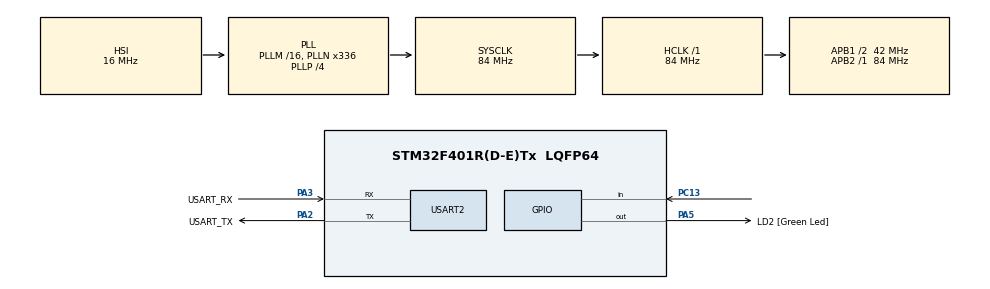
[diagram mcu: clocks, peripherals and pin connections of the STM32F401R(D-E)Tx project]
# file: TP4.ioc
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Mcu.Family=STM32F4
Mcu.Name=STM32F401R(D-E)Tx
Mcu.Package=LQFP64
NVIC.PriorityGroup=NVIC_PRIORITYGROUP_0
PA13.GPIO_Label=TMS
PA13.Mode=Serial_Wire
PA13.Signal=SYS_JTMS-SWDIO
PA14.GPIO_Label=TCK
PA14.Mode=Serial_Wire
PA14.Signal=SYS_JTCK-SWCLK
PA2.GPIO_Label=USART_TX
PA2.GPIO_Mode=GPIO_MODE_AF_PP
PA2.GPIO_PuPd=GPIO_NOPULL
PA2.GPIO_Speed=GPIO_SPEED_FREQ_LOW
PA2.Mode=Asynchronous
PA2.Signal=USART2_TX
PA3.GPIO_Label=USART_RX
PA3.GPIO_Mode=GPIO_MODE_AF_PP
PA3.GPIO_PuPd=GPIO_NOPULL
PA3.GPIO_Speed=GPIO_SPEED_FREQ_LOW
PA3.Mode=Asynchronous
PA3.Signal=USART2_RX
PA5.GPIO_Label=LD2 [Green Led]
PA5.GPIO_Mode=GPIO_MODE_OUTPUT_PP
PA5.GPIO_PuPd=GPIO_NOPULL
PA5.GPIO_Speed=GPIO_SPEED_FREQ_LOW
PA5.Signal=GPIO_Output
PB3.GPIO_Label=SWO
PB3.Signal=SYS_JTDO-SWO
PC13-ANTI_TAMP.Signal=GPIO_Input
PC14-OSC32_IN.Mode=LSE-External-Oscillator
PC14-OSC32_IN.Signal=RCC_OSC32_IN
PC15-OSC32_OUT.Mode=LSE-External-Oscillator
PC15-OSC32_OUT.Signal=RCC_OSC32_OUT
PH0\ -\ OSC_IN.Mode=HSE-External-Clock-Source
PH0\ -\ OSC_IN.Signal=RCC_OSC_IN
PH1\ -\ OSC_OUT.Mode=HSE-External-Clock-Source
PH1\ -\ OSC_OUT.Signal=RCC_OSC_OUT
ProjectManager.HeapSize=0x200
ProjectManager.StackSize=0x400
ProjectManager.TargetToolchain=STM32CubeIDE
RCC.48MHZClocksFreq_Value=48000000
RCC.AHBFreq_Value=84000000
RCC.APB1CLKDivider=RCC_HCLK_DIV2
RCC.APB1Freq_Value=42000000
RCC.APB1TimFreq_Value=84000000
RCC.APB2Freq_Value=84000000
RCC.APB2TimFreq_Value=84000000
RCC.CortexFreq_Value=84000000
RCC.HCLKFreq_Value=84000000
RCC.HSE_VALUE=8000000
RCC.HSI_VALUE=16000000
RCC.PLLN=336
RCC.PLLP=RCC_PLLP_DIV4
RCC.PLLQ=7
RCC.SYSCLKFreq_VALUE=84000000
RCC.SYSCLKSource=RCC_SYSCLKSOURCE_PLLCLK
RCC.VCOOutputFreq_Value=336000000
USART2.VirtualMode=VM_ASYNC
board=NUCLEO-F401RE

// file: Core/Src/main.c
/* USER CODE BEGIN Header */
/**
  ******************************************************************************
  * @file           : main.c
  * @brief          : Main program body
  ******************************************************************************
  * @attention
  *
  * Copyright (c) 2023 STMicroelectronics.
  * All rights reserved.
  *
  * This software is licensed under terms that can be found in the LICENSE file
  * in the root directory of this software component.
  * If no LICENSE file comes with this software, it is provided AS-IS.
  *
  ******************************************************************************
  */
/* USER CODE END Header */
#include "main.h"

/* USER CODE BEGIN Includes */
#include "API_delay.h"

/* USER CODE END Includes */

/* USER CODE BEGIN PTD */

// Nuevo tipo de dato incluyendo los posibles estados del boton
typedef enum
{
	BUTTON_FALLING,
	BUTTON_DOWN,
	BUTTON_RISING,
	BUTTON_UP
} debounceState_t;

/* USER CODE END PTD */

/* USER CODE BEGIN PD */

// Duracion en ms de encendido de cada led
#define DELAY_DUR 40

// Defino los PINes donde se conectan los LED 1 2 3
//#define PIN_1 GPIO_PIN_4
//#define PIN_2 GPIO_PIN_5
//#define PIN_3 GPIO_PIN_3

/* USER CODE END PD */

UART_HandleTypeDef huart2;

/* USER CODE BEGIN PV */

debounceState_t BUTTON_STATE;
delay_t delay;
tick_t Delay_Duration = DELAY_DUR;

/* USER CODE END PV */

void SystemClock_Config(void);
static void MX_GPIO_Init(void);
static void MX_USART2_UART_Init(void);

/* USER CODE BEGIN 0 */

void debounceFSM_init() // Carga el estado inicial
{
	BUTTON_STATE = BUTTON_UP;
}

void debounceFSM_update() // Comprobar el estado del boton y act. el estado
{
	switch(BUTTON_STATE)
	{
	case BUTTON_UP:
		if(HAL_GPIO_ReadPin(GPIOC, GPIO_PIN_13) == GPIO_PIN_SET)
		{
			BUTTON_STATE = BUTTON_FALLING;
		}
		break;

	case BUTTON_FALLING:
		delayInit(&delay, Delay_Duration);
		while (delayRead(&delay) != true)
		{
		}
		if(HAL_GPIO_ReadPin(GPIOC, GPIO_PIN_13) == GPIO_PIN_SET)
		{
			BUTTON_STATE = BUTTON_DOWN;
		}
		else
		{
			BUTTON_STATE = BUTTON_UP;
		}
		break;

	case BUTTON_DOWN:
		if(HAL_GPIO_ReadPin(GPIOC, GPIO_PIN_13) == GPIO_PIN_RESET)
		{
			BUTTON_STATE = BUTTON_RISING;
		}
		break;

	case BUTTON_RISING:
		delayInit(&delay, Delay_Duration);
		while (delayRead(&delay) != true)
		{
		}
		if(HAL_GPIO_ReadPin(GPIOC, GPIO_PIN_13) == GPIO_PIN_RESET)
		{
			BUTTON_STATE = BUTTON_UP;
		}
		else
		{
			BUTTON_STATE = BUTTON_DOWN;
		}
		break;
	}
}

void buttonPressed()
{
	HAL_GPIO_TogglePin(GPIOA, GPIO_PIN_5);

	delayInit(&delay, 500);
	while (delayRead(&delay) != true)
	{
	}
}

void buttonReleased()
{
	HAL_GPIO_TogglePin(GPIOA, GPIO_PIN_5);

	delayInit(&delay, 100);
	while (delayRead(&delay) != true)
	{
	}
}

/* USER CODE END 0 */

int main(void)
{
  /* USER CODE BEGIN 1 */

//  delay_t delay;
//  tick_t Delay_Duration = DELAY_DUR;

  /* USER CODE END 1 */

  /* MCU Configuration--------------------------------------------------------*/

  /* Reset of all peripherals, Initializes the Flash interface and the Systick. */
  HAL_Init();

  /* USER CODE BEGIN Init */

  debounceFSM_init();

  /* USER CODE END Init */

  /* Configure the system clock */
  SystemClock_Config();

  /* Initialize all configured peripherals */
  MX_GPIO_Init();
  MX_USART2_UART_Init();
  /* USER CODE BEGIN 2 */

  // Inicializo el contador
  delayInit(&delay, Delay_Duration);

  /* USER CODE END 2 */

  /* Infinite loop */
  /* USER CODE BEGIN WHILE */

  while (1)
  {
	debounceFSM_update();

	if(BUTTON_STATE == BUTTON_DOWN)
	{
		buttonPressed();
	}
	else if(BUTTON_STATE == BUTTON_UP)
	{
		buttonReleased();
	}

    /* USER CODE END WHILE */

  }
}

void SystemClock_Config(void)
{
  RCC_OscInitTypeDef RCC_OscInitStruct = {0};
  RCC_ClkInitTypeDef RCC_ClkInitStruct = {0};

  /** Configure the main internal regulator output voltage
  */
  __HAL_RCC_PWR_CLK_ENABLE();
  __HAL_PWR_VOLTAGESCALING_CONFIG(PWR_REGULATOR_VOLTAGE_SCALE2);

  /** Initializes the RCC Oscillators according to the specified parameters
  * in the RCC_OscInitTypeDef structure.
  */
  RCC_OscInitStruct.OscillatorType = RCC_OSCILLATORTYPE_HSI;
  RCC_OscInitStruct.HSIState = RCC_HSI_ON;
  RCC_OscInitStruct.HSICalibrationValue = RCC_HSICALIBRATION_DEFAULT;
  RCC_OscInitStruct.PLL.PLLState = RCC_PLL_ON;
  RCC_OscInitStruct.PLL.PLLSource = RCC_PLLSOURCE_HSI;
  RCC_OscInitStruct.PLL.PLLM = 16;
  RCC_OscInitStruct.PLL.PLLN = 336;
  RCC_OscInitStruct.PLL.PLLP = RCC_PLLP_DIV4;
  RCC_OscInitStruct.PLL.PLLQ = 7;
  if (HAL_RCC_OscConfig(&RCC_OscInitStruct) != HAL_OK)
  {
    Error_Handler();
  }

  /** Initializes the CPU, AHB and APB buses clocks
  */
  RCC_ClkInitStruct.ClockType = RCC_CLOCKTYPE_HCLK|RCC_CLOCKTYPE_SYSCLK
                              |RCC_CLOCKTYPE_PCLK1|RCC_CLOCKTYPE_PCLK2;
  RCC_ClkInitStruct.SYSCLKSource = RCC_SYSCLKSOURCE_PLLCLK;
  RCC_ClkInitStruct.AHBCLKDivider = RCC_SYSCLK_DIV1;
  RCC_ClkInitStruct.APB1CLKDivider = RCC_HCLK_DIV2;
  RCC_ClkInitStruct.APB2CLKDivider = RCC_HCLK_DIV1;

  if (HAL_RCC_ClockConfig(&RCC_ClkInitStruct, FLASH_LATENCY_2) != HAL_OK)
  {
    Error_Handler();
  }
}

static void MX_USART2_UART_Init(void)
{

  huart2.Instance = USART2;
  huart2.Init.BaudRate = 115200;
  huart2.Init.WordLength = UART_WORDLENGTH_8B;
  huart2.Init.StopBits = UART_STOPBITS_1;
  huart2.Init.Parity = UART_PARITY_NONE;
  huart2.Init.Mode = UART_MODE_TX_RX;
  huart2.Init.HwFlowCtl = UART_HWCONTROL_NONE;
  huart2.Init.OverSampling = UART_OVERSAMPLING_16;
  if (HAL_UART_Init(&huart2) != HAL_OK)
  {
    Error_Handler();
  }

}

static void MX_GPIO_Init(void)
{
  GPIO_InitTypeDef GPIO_InitStruct = {0};

  /* GPIO Ports Clock Enable */
  __HAL_RCC_GPIOC_CLK_ENABLE();
  __HAL_RCC_GPIOH_CLK_ENABLE();
  __HAL_RCC_GPIOA_CLK_ENABLE();
  __HAL_RCC_GPIOB_CLK_ENABLE();

  /*Configure GPIO pin Output Level */
  HAL_GPIO_WritePin(LD2_GPIO_Port, LD2_Pin, GPIO_PIN_RESET);

  /*Configure GPIO pin : PC13 */
  GPIO_InitStruct.Pin = GPIO_PIN_13;
  GPIO_InitStruct.Mode = GPIO_MODE_INPUT;
  GPIO_InitStruct.Pull = GPIO_PULLUP;
  HAL_GPIO_Init(GPIOC, &GPIO_InitStruct);

  /*Configure GPIO pin : LD2_Pin */
  GPIO_InitStruct.Pin = LD2_Pin;
  GPIO_InitStruct.Mode = GPIO_MODE_OUTPUT_PP;
  GPIO_InitStruct.Pull = GPIO_NOPULL;
  GPIO_InitStruct.Speed = GPIO_SPEED_FREQ_LOW;
  HAL_GPIO_Init(LD2_GPIO_Port, &GPIO_InitStruct);

}

void Error_Handler(void)
{
  __disable_irq();
  while (1)
  {
  }
}
